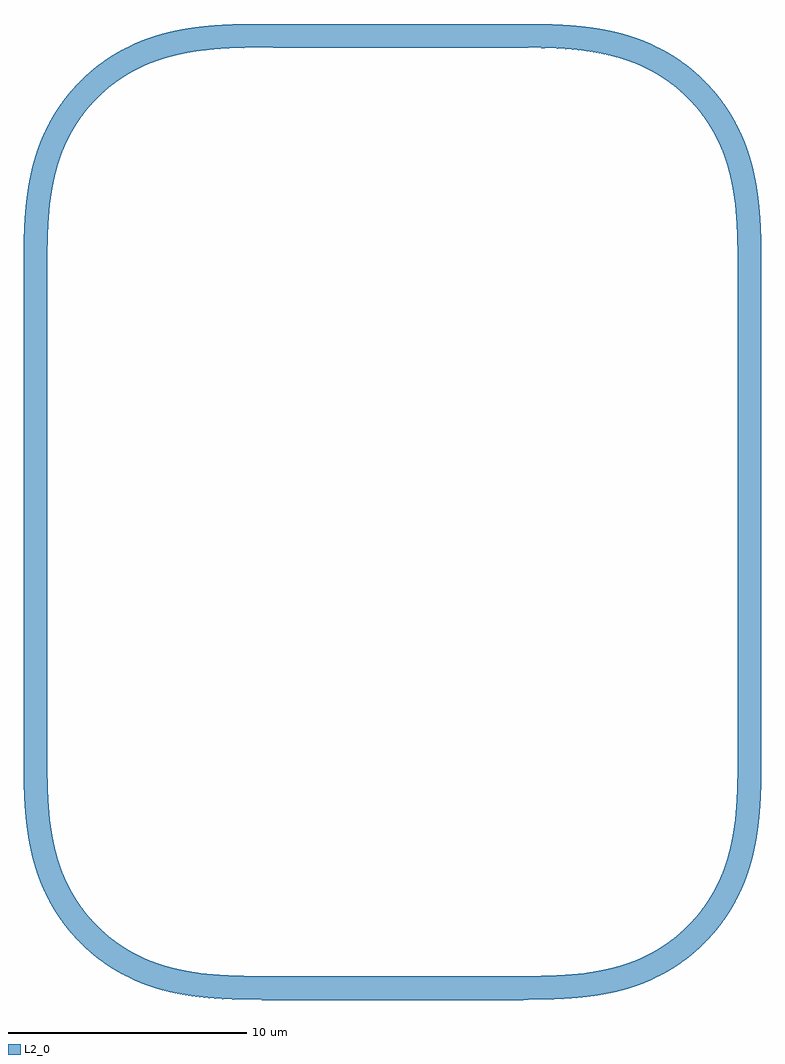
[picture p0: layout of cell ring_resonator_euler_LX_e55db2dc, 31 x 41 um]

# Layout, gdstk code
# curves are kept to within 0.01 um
from math import pi, radians
import gdstk
lib = gdstk.Library(unit=1e-6, precision=1e-09)
def R(c, l, rs):  # rectangles x0, y0, x1, y1
    for r in rs: c.add(gdstk.rectangle(r[:2], r[2:], *l))
def P(c, l, *ps):  # polygons
    for p in ps: c.add(gdstk.Polygon(p, *l))
L2_0 = (2, 0)

bend_euler_gdsfactorypc_ = lib.new_cell('bend_euler_gdsfactorypc_58370d1e')
P(bend_euler_gdsfactorypc_, L2_0, [(0,-0.5),(0,0.5),(1.46,0.513),(2.617,0.578),(3.214,0.646),(3.607,0.708),(4.018,0.79),(4.445,0.897),(4.9,1.039),(5.234,1.165),(5.665,1.359),(6.008,1.541),(6.365,1.76),(6.714,2.006),(7.028,2.259),(7.354,2.558),(7.623,2.838),(7.923,3.194),(8.175,3.538),(8.416,3.918),(8.585,4.224),(8.775,4.623),(8.943,5.049),(9.086,5.495),(9.203,5.951),(9.292,6.393),(9.354,6.786),(9.422,7.383),(9.487,8.54),(9.5,10),(10.5,10),(10.483,8.394),(10.414,7.249),(10.348,6.674),(10.269,6.176),(10.172,5.704),(10.035,5.176),(9.87,4.671),(9.692,4.224),(9.473,3.764),(9.274,3.404),(9.075,3.085),(8.781,2.669),(8.5,2.321),(8.162,1.952),(7.78,1.588),(7.437,1.301),(7.085,1.04),(6.65,0.758),(6.236,0.527),(5.776,0.308),(5.329,0.13),(4.841,-0.03),(4.424,-0.142),(3.884,-0.258),(3.326,-0.348),(2.751,-0.414),(1.606,-0.483)])

straight_gdsfactorypcom_ = lib.new_cell('straight_gdsfactorypcom_e8674bcd')
R(straight_gdsfactorypcom_, L2_0, [(0,-0.5,20,0.5)])

c_straight_gdsfactorypcom_ = lib.new_cell('straight_gdsfactorypcom_06aa8ae0')
R(c_straight_gdsfactorypcom_, L2_0, [(0,-0.5,10,0.5)])

ring_resonator_euler_lx_ = lib.new_cell('ring_resonator_euler_LX_e55db2dc')
ring_resonator_euler_lx_.add(gdstk.Reference(bend_euler_gdsfactorypc_, (0,0)))
ring_resonator_euler_lx_.add(gdstk.Reference(straight_gdsfactorypcom_, (10,10), rotation=pi/2))
ring_resonator_euler_lx_.add(gdstk.Reference(bend_euler_gdsfactorypc_, (10,30), rotation=pi/2))
ring_resonator_euler_lx_.add(gdstk.Reference(c_straight_gdsfactorypcom_, (0,40), rotation=pi))
ring_resonator_euler_lx_.add(gdstk.Reference(bend_euler_gdsfactorypc_, (-10,40), rotation=pi))
ring_resonator_euler_lx_.add(gdstk.Reference(straight_gdsfactorypcom_, (-20,30), rotation=3*pi/2, x_reflection=True))
ring_resonator_euler_lx_.add(gdstk.Reference(bend_euler_gdsfactorypc_, (-20,10), rotation=3*pi/2))
ring_resonator_euler_lx_.add(gdstk.Reference(c_straight_gdsfactorypcom_, (-10,0)))

lib.write_gds('ring_resonator_euler_LX_e55db2dc.gds')
